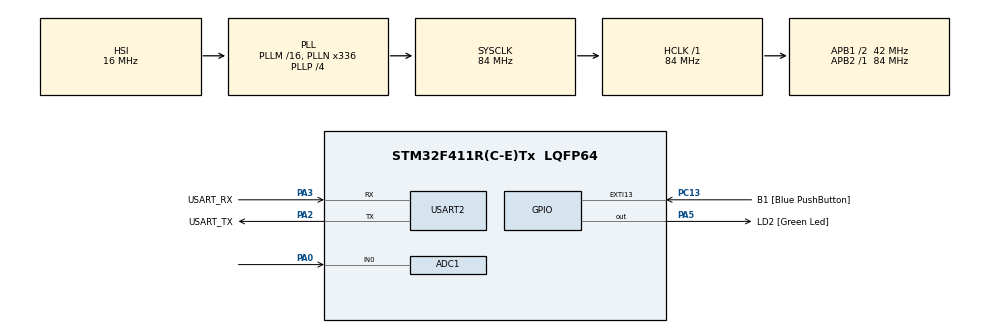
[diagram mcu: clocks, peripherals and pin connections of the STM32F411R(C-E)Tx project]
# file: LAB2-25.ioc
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ADC1.Channel-0\#ChannelRegularConversion=ADC_CHANNEL_0
ADC1.Channel-1\#ChannelRegularConversion=ADC_CHANNEL_TEMPSENSOR
ADC1.ContinuousConvMode=ENABLE
ADC1.DMAContinuousRequests=ENABLE
ADC1.NbrOfConversion=2
ADC1.NbrOfConversionFlag=1
ADC1.Rank-0\#ChannelRegularConversion=1
ADC1.Rank-1\#ChannelRegularConversion=2
ADC1.SamplingTime-0\#ChannelRegularConversion=ADC_SAMPLETIME_480CYCLES
ADC1.SamplingTime-1\#ChannelRegularConversion=ADC_SAMPLETIME_480CYCLES
ADC1.ScanConvMode=ENABLE
ADC1.master=1
Dma.ADC1.0.Direction=DMA_PERIPH_TO_MEMORY
Dma.ADC1.0.FIFOMode=DMA_FIFOMODE_DISABLE
Dma.ADC1.0.Instance=DMA2_Stream0
Dma.ADC1.0.MemDataAlignment=DMA_MDATAALIGN_HALFWORD
Dma.ADC1.0.MemInc=DMA_MINC_ENABLE
Dma.ADC1.0.Mode=DMA_CIRCULAR
Dma.ADC1.0.PeriphDataAlignment=DMA_PDATAALIGN_HALFWORD
Dma.ADC1.0.PeriphInc=DMA_PINC_DISABLE
Dma.ADC1.0.Priority=DMA_PRIORITY_LOW
Dma.Request0=ADC1
Mcu.Family=STM32F4
Mcu.Name=STM32F411R(C-E)Tx
Mcu.Package=LQFP64
NVIC.DMA2_Stream0_IRQn=true\:0\:0\:false\:false\:true\:false\:true\:true
NVIC.EXTI15_10_IRQn=true\:0\:0\:false\:false\:true\:true\:true\:true
NVIC.PriorityGroup=NVIC_PRIORITYGROUP_0
PA0-WKUP.Signal=ADCx_IN0
PA13.GPIO_Label=TMS
PA13.Mode=Serial_Wire
PA13.Signal=SYS_JTMS-SWDIO
PA14.GPIO_Label=TCK
PA14.Mode=Serial_Wire
PA14.Signal=SYS_JTCK-SWCLK
PA2.GPIO_Label=USART_TX
PA2.Mode=Asynchronous
PA2.Signal=USART2_TX
PA3.GPIO_Label=USART_RX
PA3.Mode=Asynchronous
PA3.Signal=USART2_RX
PA5.GPIO_Label=LD2 [Green Led]
PA5.Signal=GPIO_Output
PB3.GPIO_Label=SWO
PB3.Signal=SYS_JTDO-SWO
PC13-ANTI_TAMP.GPIO_Label=B1 [Blue PushButton]
PC13-ANTI_TAMP.GPIO_ModeDefaultEXTI=GPIO_MODE_IT_FALLING
PC13-ANTI_TAMP.Signal=GPXTI13
PC14-OSC32_IN.Mode=LSE-External-Oscillator
PC14-OSC32_IN.Signal=RCC_OSC32_IN
PC15-OSC32_OUT.Mode=LSE-External-Oscillator
PC15-OSC32_OUT.Signal=RCC_OSC32_OUT
PH0\ -\ OSC_IN.Mode=HSE-External-Clock-Source
PH0\ -\ OSC_IN.Signal=RCC_OSC_IN
PH1\ -\ OSC_OUT.Mode=HSE-External-Clock-Source
PH1\ -\ OSC_OUT.Signal=RCC_OSC_OUT
ProjectManager.HeapSize=0x200
ProjectManager.StackSize=0x400
ProjectManager.TargetToolchain=STM32CubeIDE
RCC.48MHZClocksFreq_Value=84000000
RCC.AHBFreq_Value=84000000
RCC.APB1CLKDivider=RCC_HCLK_DIV2
RCC.APB1Freq_Value=42000000
RCC.APB1TimFreq_Value=84000000
RCC.APB2Freq_Value=84000000
RCC.APB2TimFreq_Value=84000000
RCC.CortexFreq_Value=84000000
RCC.FLatency-AdvancedSettings=FLASH_LATENCY_2
RCC.HCLKFreq_Value=84000000
RCC.HSE_VALUE=8000000
RCC.HSI_VALUE=16000000
RCC.PLLN=336
RCC.PLLP=RCC_PLLP_DIV4
RCC.SYSCLKFreq_VALUE=84000000
RCC.SYSCLKSource=RCC_SYSCLKSOURCE_PLLCLK
RCC.VCOOutputFreq_Value=336000000
SH.ADCx_IN0.0=ADC1_IN0,IN0
USART2.VirtualMode=VM_ASYNC
VP_ADC1_TempSens_Input.Mode=IN-TempSens
board=NUCLEO-F411RE

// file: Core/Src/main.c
/* USER CODE BEGIN Header */
/**
  ******************************************************************************
  * @file           : main.c
  * @brief          : Main program body
  ******************************************************************************
  * @attention
  *
  * Copyright (c) 2023 STMicroelectronics.
  * All rights reserved.
  *
  * This software is licensed under terms that can be found in the LICENSE file
  * in the root directory of this software component.
  * If no LICENSE file comes with this software, it is provided AS-IS.
  *
  ******************************************************************************
  */
/* USER CODE END Header */
#include "main.h"

ADC_HandleTypeDef hadc1;
DMA_HandleTypeDef hdma_adc1;

UART_HandleTypeDef huart2;

/* USER CODE BEGIN PV */
//uint16_t adcRawData[20];
double tempLog = 0;
double voltageLog = 0;

typedef union //อนุญาตให้เก็บข้อมูลได้หลายแบบในตัวแปรเดียว เช่น int float
{
	struct
	{
		uint16_t ADC_IN0; //voltage
		uint16_t TempSensor; //temp
	}subData;
	uint16_t buffer[2]; //adc n temp sensor
}DMA_ADC_BufferType;

DMA_ADC_BufferType buffer[10]; //adc = 10, tempsensor = 10
/* USER CODE END PV */

void SystemClock_Config(void);
static void MX_GPIO_Init(void);
static void MX_DMA_Init(void);
static void MX_USART2_UART_Init(void);
static void MX_ADC1_Init(void);
/* USER CODE BEGIN PFP */
void calculation();
/* USER CODE END PFP */

int main(void)
{

  /* MCU Configuration--------------------------------------------------------*/

  /* Reset of all peripherals, Initializes the Flash interface and the Systick. */
  HAL_Init();

  /* Configure the system clock */
  SystemClock_Config();

  /* Initialize all configured peripherals */
  MX_GPIO_Init();
  MX_DMA_Init();
  MX_USART2_UART_Init();
  MX_ADC1_Init();
  /* USER CODE BEGIN 2 */
  HAL_ADC_Start_DMA(&hadc1,(uint32_t*)buffer, 20); // 20 ค่า
  /* USER CODE END 2 */

  /* Infinite loop */
  while (1)
  {

    /* USER CODE BEGIN 3 */
	  static uint32_t timestamp = 0;
	 	  if(HAL_GetTick() >= timestamp)
	 	      {
	 	          timestamp = HAL_GetTick() + 1000; // call every 1 Hz
	 	          calculation();
	 	      }

  }
  /* USER CODE END 3 */
}

void SystemClock_Config(void)
{
  RCC_OscInitTypeDef RCC_OscInitStruct = {0};
  RCC_ClkInitTypeDef RCC_ClkInitStruct = {0};

  /** Configure the main internal regulator output voltage
  */
  __HAL_RCC_PWR_CLK_ENABLE();
  __HAL_PWR_VOLTAGESCALING_CONFIG(PWR_REGULATOR_VOLTAGE_SCALE1);

  /** Initializes the RCC Oscillators according to the specified parameters
  * in the RCC_OscInitTypeDef structure.
  */
  RCC_OscInitStruct.OscillatorType = RCC_OSCILLATORTYPE_HSI;
  RCC_OscInitStruct.HSIState = RCC_HSI_ON;
  RCC_OscInitStruct.HSICalibrationValue = RCC_HSICALIBRATION_DEFAULT;
  RCC_OscInitStruct.PLL.PLLState = RCC_PLL_ON;
  RCC_OscInitStruct.PLL.PLLSource = RCC_PLLSOURCE_HSI;
  RCC_OscInitStruct.PLL.PLLM = 16;
  RCC_OscInitStruct.PLL.PLLN = 336;
  RCC_OscInitStruct.PLL.PLLP = RCC_PLLP_DIV4;
  RCC_OscInitStruct.PLL.PLLQ = 4;
  if (HAL_RCC_OscConfig(&RCC_OscInitStruct) != HAL_OK)
  {
    Error_Handler();
  }

  /** Initializes the CPU, AHB and APB buses clocks
  */
  RCC_ClkInitStruct.ClockType = RCC_CLOCKTYPE_HCLK|RCC_CLOCKTYPE_SYSCLK
                              |RCC_CLOCKTYPE_PCLK1|RCC_CLOCKTYPE_PCLK2;
  RCC_ClkInitStruct.SYSCLKSource = RCC_SYSCLKSOURCE_PLLCLK;
  RCC_ClkInitStruct.AHBCLKDivider = RCC_SYSCLK_DIV1;
  RCC_ClkInitStruct.APB1CLKDivider = RCC_HCLK_DIV2;
  RCC_ClkInitStruct.APB2CLKDivider = RCC_HCLK_DIV1;

  if (HAL_RCC_ClockConfig(&RCC_ClkInitStruct, FLASH_LATENCY_2) != HAL_OK)
  {
    Error_Handler();
  }
}

static void MX_ADC1_Init(void)
{

  ADC_ChannelConfTypeDef sConfig = {0};

  /** Configure the global features of the ADC (Clock, Resolution, Data Alignment and number of conversion)
  */
  hadc1.Instance = ADC1;
  hadc1.Init.ClockPrescaler = ADC_CLOCK_SYNC_PCLK_DIV4;
  hadc1.Init.Resolution = ADC_RESOLUTION_12B;
  hadc1.Init.ScanConvMode = ENABLE;
  hadc1.Init.ContinuousConvMode = ENABLE;
  hadc1.Init.DiscontinuousConvMode = DISABLE;
  hadc1.Init.ExternalTrigConvEdge = ADC_EXTERNALTRIGCONVEDGE_NONE;
  hadc1.Init.ExternalTrigConv = ADC_SOFTWARE_START;
  hadc1.Init.DataAlign = ADC_DATAALIGN_RIGHT;
  hadc1.Init.NbrOfConversion = 2;
  hadc1.Init.DMAContinuousRequests = ENABLE;
  hadc1.Init.EOCSelection = ADC_EOC_SINGLE_CONV;
  if (HAL_ADC_Init(&hadc1) != HAL_OK)
  {
    Error_Handler();
  }

  /** Configure for the selected ADC regular channel its corresponding rank in the sequencer and its sample time.
  */
  sConfig.Channel = ADC_CHANNEL_0;
  sConfig.Rank = 1;
  sConfig.SamplingTime = ADC_SAMPLETIME_480CYCLES;
  if (HAL_ADC_ConfigChannel(&hadc1, &sConfig) != HAL_OK)
  {
    Error_Handler();
  }

  /** Configure for the selected ADC regular channel its corresponding rank in the sequencer and its sample time.
  */
  sConfig.Channel = ADC_CHANNEL_TEMPSENSOR;
  sConfig.Rank = 2;
  if (HAL_ADC_ConfigChannel(&hadc1, &sConfig) != HAL_OK)
  {
    Error_Handler();
  }

}

static void MX_USART2_UART_Init(void)
{

  huart2.Instance = USART2;
  huart2.Init.BaudRate = 115200;
  huart2.Init.WordLength = UART_WORDLENGTH_8B;
  huart2.Init.StopBits = UART_STOPBITS_1;
  huart2.Init.Parity = UART_PARITY_NONE;
  huart2.Init.Mode = UART_MODE_TX_RX;
  huart2.Init.HwFlowCtl = UART_HWCONTROL_NONE;
  huart2.Init.OverSampling = UART_OVERSAMPLING_16;
  if (HAL_UART_Init(&huart2) != HAL_OK)
  {
    Error_Handler();
  }

}

static void MX_DMA_Init(void)
{

  /* DMA controller clock enable */
  __HAL_RCC_DMA2_CLK_ENABLE();

  /* DMA interrupt init */
  /* DMA2_Stream0_IRQn interrupt configuration */
  HAL_NVIC_SetPriority(DMA2_Stream0_IRQn, 0, 0);
  HAL_NVIC_EnableIRQ(DMA2_Stream0_IRQn);

}

static void MX_GPIO_Init(void)
{
  GPIO_InitTypeDef GPIO_InitStruct = {0};

  /* GPIO Ports Clock Enable */
  __HAL_RCC_GPIOC_CLK_ENABLE();
  __HAL_RCC_GPIOH_CLK_ENABLE();
  __HAL_RCC_GPIOA_CLK_ENABLE();
  __HAL_RCC_GPIOB_CLK_ENABLE();

  /*Configure GPIO pin Output Level */
  HAL_GPIO_WritePin(LD2_GPIO_Port, LD2_Pin, GPIO_PIN_RESET);

  /*Configure GPIO pin : B1_Pin */
  GPIO_InitStruct.Pin = B1_Pin;
  GPIO_InitStruct.Mode = GPIO_MODE_IT_FALLING;
  GPIO_InitStruct.Pull = GPIO_NOPULL;
  HAL_GPIO_Init(B1_GPIO_Port, &GPIO_InitStruct);

  /*Configure GPIO pin : LD2_Pin */
  GPIO_InitStruct.Pin = LD2_Pin;
  GPIO_InitStruct.Mode = GPIO_MODE_OUTPUT_PP;
  GPIO_InitStruct.Pull = GPIO_NOPULL;
  GPIO_InitStruct.Speed = GPIO_SPEED_FREQ_LOW;
  HAL_GPIO_Init(LD2_GPIO_Port, &GPIO_InitStruct);

  /* EXTI interrupt init*/
  HAL_NVIC_SetPriority(EXTI15_10_IRQn, 0, 0);
  HAL_NVIC_EnableIRQ(EXTI15_10_IRQn);

}

/* USER CODE BEGIN 4 */
//void HAL_GPIO_EXTI_Callback(uint16_t GPIO_Pin) { //เลือกทำ function นี้แทน weak (ถูก implement ไว้ใน Library)
//	if(GPIO_Pin == GPIO_PIN_13) //interrupt function
//	{
////		HAL_ADC_Start_DMA(&hadc1, adcRawData, 20);
//		HAL_ADC_Start_DMA(&hadc1,(uint32_t*)buffer, 20); // 20 ค่า
//		// Buffer size 100*2
//	}
//
//}
//void HAL_ADC_ConvCpltCallback(ADC_HandleTypeDef* hadc){
	//adcRawData = HAL_ADC_GetValue(&hadc1);
	// this function still call after ADC-DMA Finish
//}
void calculation(){
	voltageLog = 0;
	tempLog = 0;
	register int i = 0;
	for (i = 0; i < 10; i++) {
	voltageLog = voltageLog + buffer[i].subData.ADC_IN0;
	tempLog = tempLog + buffer[i].subData.TempSensor;
	}
	// Average of voltageLog
	voltageLog = voltageLog / 10;
	// convert to mV by gain 1000 -> convert to Vin by gain 2
	voltageLog = ((voltageLog * 3.3) / 4096) * 1000 * 2; // 0-4095 = 4096
	// Average of tempLog
	tempLog = tempLog / 10;
	// Convert templog to voltage
	tempLog = (tempLog * 3.3) / 4096;
	// temp in Celcius = {(Vsense - V25)/Avg_slope}+25 ;
	tempLog = ((tempLog - 0.76) / (2.5 / 1000)) + 25;
	// covert Celcius to Kelvin Degree
	tempLog = tempLog + 273.15;
}
/* USER CODE END 4 */

void Error_Handler(void)
{
  __disable_irq();
  while (1)
  {
  }
}
